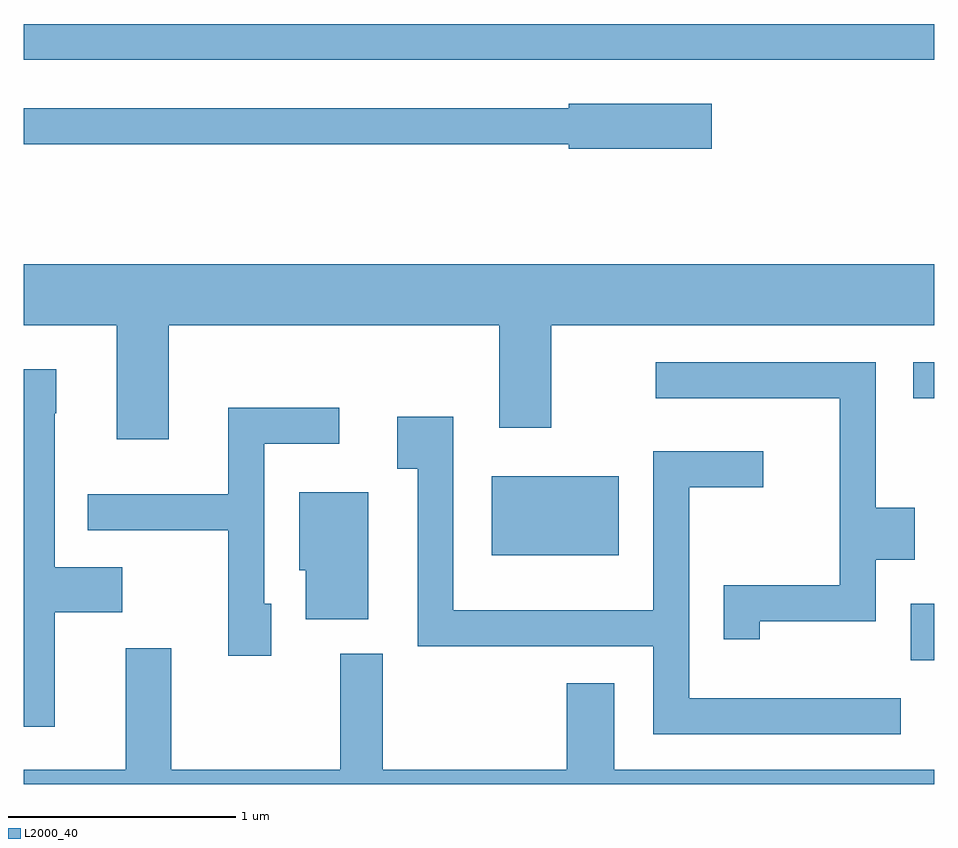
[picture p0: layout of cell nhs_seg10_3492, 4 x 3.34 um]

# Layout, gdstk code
import gdstk
lib = gdstk.Library(unit=1e-6, precision=1e-09)
def R(c, l, rs):  # rectangles x0, y0, x1, y1
    for r in rs: c.add(gdstk.rectangle(r[:2], r[2:], *l))
def P(c, l, *ps):  # polygons
    for p in ps: c.add(gdstk.Polygon(p, *l))
L2000_40 = (2000, 40)

nhs_seg10_3492 = lib.new_cell('nhs_seg10_3492')
R(nhs_seg10_3492, L2000_40, [(291.506,2159.066,291.611,2159.314), (289.666,2159.526,290.224,2159.874), (291.518,2160.216,291.611,2160.374), (287.611,2161.701,291.611,2161.859)])
P(nhs_seg10_3492, L2000_40, [(290.634,2161.509),(290.006,2161.509),(290.006,2161.489),(287.611,2161.489),(287.611,2161.331),(290.006,2161.331),(290.006,2161.311),(290.634,2161.311)],
  [(287.611,2160.536),(288.021,2160.536),(288.021,2160.036),(288.249,2160.036),(288.249,2160.536),(289.701,2160.536),(289.701,2160.086),(289.929,2160.086),(289.929,2160.536),(291.611,2160.536),(291.611,2160.804),(287.611,2160.804)],
  [(290.844,2159.236),(291.354,2159.236),(291.354,2159.506),(291.524,2159.506),(291.524,2159.734),(291.354,2159.734),(291.354,2160.374),(290.388,2160.374),(290.388,2160.216),(291.196,2160.216),(291.196,2159.394),(290.686,2159.394),(290.686,2159.158),(290.844,2159.158)],
  [(287.749,2159.276),(288.044,2159.276),(288.044,2159.474),(287.749,2159.474),(287.749,2160.15),(287.754,2160.15),(287.754,2160.344),(287.611,2160.344),(287.611,2158.773),(287.749,2158.773)],
  [(288.699,2159.314),(288.669,2159.314),(288.669,2160.016),(288.998,2160.016),(288.998,2160.174),(288.511,2160.174),(288.511,2159.794),(287.893,2159.794),(287.893,2159.636),(288.511,2159.636),(288.511,2159.086),(288.699,2159.086)],
  [(291.463,2158.899),(290.534,2158.899),(290.534,2159.826),(290.858,2159.826),(290.858,2159.984),(290.376,2159.984),(290.376,2159.284),(289.499,2159.284),(289.499,2160.134),(289.251,2160.134),(289.251,2159.906),(289.341,2159.906),(289.341,2159.126),(290.376,2159.126),(290.376,2158.741),(291.463,2158.741)],
  [(289.124,2159.804),(288.821,2159.804),(288.821,2159.461),(288.851,2159.461),(288.851,2159.246),(289.124,2159.246)],
  [(289.996,2158.584),(289.189,2158.584),(289.189,2159.094),(289.001,2159.094),(289.001,2158.584),(288.259,2158.584),(288.259,2159.119),(288.061,2159.119),(288.061,2158.584),(287.611,2158.584),(287.611,2158.522),(291.611,2158.522),(291.611,2158.584),(290.204,2158.584),(290.204,2158.964),(289.996,2158.964)])

lib.write_gds('nhs_seg10_3492.gds')
